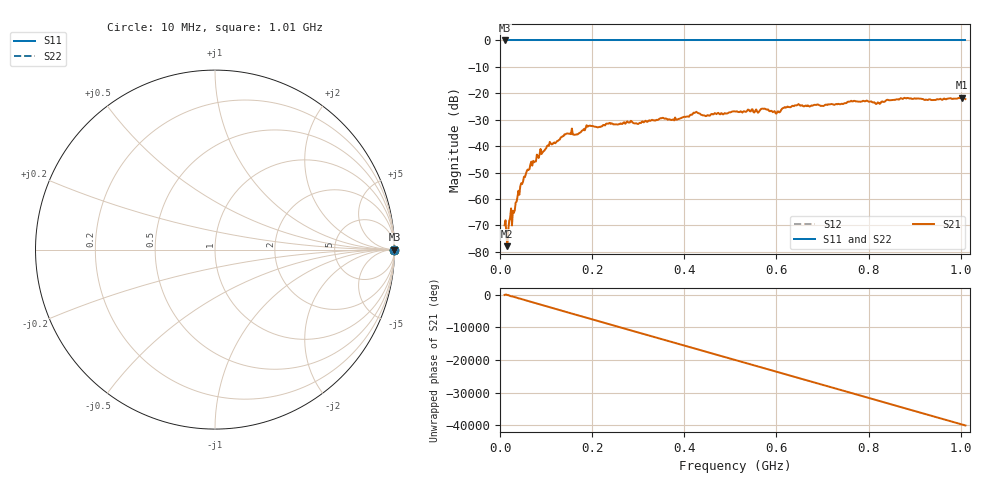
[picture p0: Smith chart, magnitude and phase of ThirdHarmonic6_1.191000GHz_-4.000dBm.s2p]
! 8/16/2025 12:14:32 PM
! C:\ANRITSUVNA\TEMP\TEMP.S2P
! CHANNEL.1
! TR.MEASUREMENT
! RAW.DATA
! RF.CORRECTION.OFF
! AVERAGING.OFF
! IF.BANDWIDTH: 5KHZ
! SWEEPTYPE:  FREQ.SWEEP(Linear)
! Reference Plane Port Info
! PORT:  PORT1  PORT2
! DISTANCE:  0  m  0  m
! TIME:  0  s  0  s
! PHASE.OFFSET:  0  deg.  0  deg.
! LOSS:  0  dB  0  dB
! REF.LOSS:  0  dB  0  dB
! REF.FREQ:  0  Hz  0  Hz
! Power Info
! POWER:  -20  dBm  -20  dBm
! EFF.POWER:  -20  dBm  -20  dBm
! SOURCE.ATTEN:  0  dB  0  dB
! TEST.ATTEN:  0  dB  0  dB
# GHZ S RI R 50.0
! FREQ.GHZ  S11RE  S11IM  S21RE  S21IM  S12RE  S12IM  S22RE  S22IM
!; PortSelection: Port_12
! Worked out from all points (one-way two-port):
!   501 points, 10 MHz to 1.01 GHz, reference 50 ohm
!   highest |S21| = -21.64 dB at 1.002 GHz (marker M1); lowest = -77.9 dB at 16 MHz (marker M2)
!   lowest |S11| = 0.0 dB at 10 MHz (marker M3)
!   |S11| at or under -10 dB: nowhere
!   |S22| runs from 0.0 to 0.0 dB; largest |S21 - S12| = 1.1
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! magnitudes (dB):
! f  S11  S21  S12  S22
! 10 MHz  0.0  -70.0  0.0  0.0
! 16 MHz  0.0  -77.9  0.0  0.0
! 24 MHz  0.0  -63.6  0.0  0.0
! 30 MHz  0.0  -65.3  0.0  0.0
! 48 MHz  0.0  -54.4  0.0  0.0
! 70 MHz  0.0  -47.4  0.0  0.0
! 106 MHz  0.0  -39.9  0.0  0.0
! 144 MHz  0.0  -35.3  0.0  0.0
! 178 MHz  0.0  -34.1  0.0  0.0
! 192 MHz  0.0  -32.4  0.0  0.0
! 344 MHz  0.0  -30.0  0.0  0.0
! 386 MHz  0.0  -29.9  0.0  0.0
! 424 MHz  0.0  -27.3  0.0  0.0
! 450 MHz  0.0  -28.3  0.0  0.0
! 510 MHz  0.0  -26.9  0.0  0.0
! 572 MHz  0.0  -25.9  0.0  0.0
! 602 MHz  0.0  -26.9  0.0  0.0
! 644 MHz  0.0  -24.6  0.0  0.0
! 678 MHz  0.0  -24.7  0.0  0.0
! 844 MHz  0.0  -22.6  0.0  0.0
! 1.002 GHz  0.0  -21.6  0.0  0.0
! 1.01 GHz  0.0  -22.2  0.0  0.0
